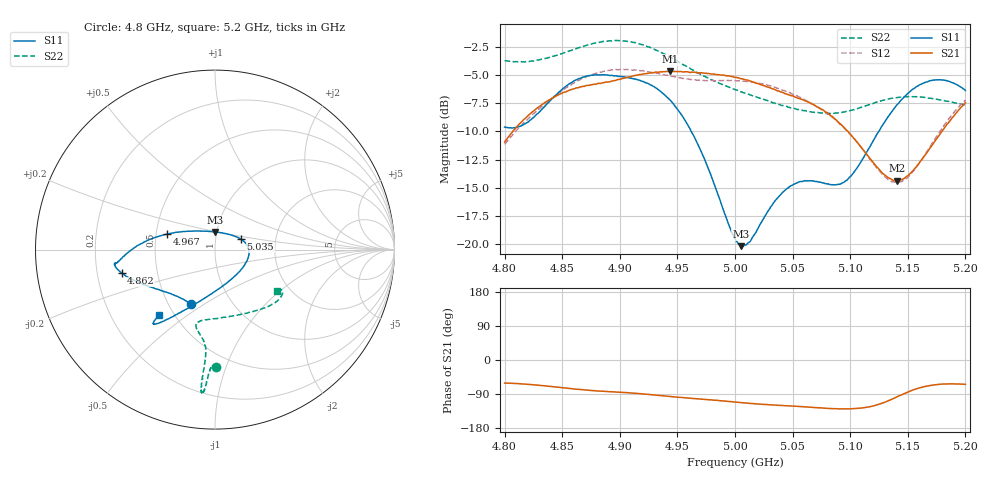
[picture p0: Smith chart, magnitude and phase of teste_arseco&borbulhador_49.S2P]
! Network Analyzer HP8722D
! Hewlett-Packard
! Data name: Linha & Wilkinson
! Saver's name: Rodrigo Anjos
! Comments: Teste da utilização de aquisição
! continua pelo VNA HP8722D
! Time and date: 15/4/2025 16:02
!  Frequency  S11  S21  S12  S22
# HZ  S  MA R 50
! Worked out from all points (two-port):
!   401 points, 4.8 GHz to 5.2 GHz, reference 50 ohm
!   highest |S21| = -4.63 dB at 4.944 GHz (marker M1); lowest = -14.4 dB at 5.141 GHz (marker M2)
!   |S21| within 3 dB of the highest: 4.832 GHz to 5.068 GHz (236.4 MHz wide, 4.78 % of centre); 5.198305 GHz to end of sweep
!   lowest |S11| = -20.2 dB at 5.005 GHz (marker M3), VSWR 1.22, Z = 49.2 + j9.69 ohm
!   |S11| at or under -10 dB: 4.962 GHz to 5.125 GHz (162.7 MHz wide, 3.23 % of centre)
!   |S22| runs from -8.4 to -1.9 dB; largest |S21 - S12| = 0.88
!   S11 on the Smith chart (normalised r, x): 4.8 GHz: 0.65, -0.44; 4.862 GHz: 0.31, -0.11; 4.967 GHz: 0.57, +0.11; 5.035 GHz: 1.33, +0.16; 5.2 GHz: 0.41, -0.39
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4.8e9  0.3309 -114.0  0.2841 -61.0  0.2771 -175.2  0.6536 -89.6
4.819e9  0.3456 -133.9  0.3665 -63.9  0.3542 -173.4  0.6492 -91.3
4.862e9  0.5369 -165.9  0.4946 -77.0  0.5274 -176.7  0.74 -93.6
4.867e9  0.5499 -167.9  0.5007 -78.5  0.5432 -177.5  0.7535 -93.8
4.9e9  0.5568 -172.4  0.5397 -85.0  0.5973 175.7  0.8026 -95.2
4.934e9  0.4833 -178.3  0.5812 -93.6  0.5731 171.9  0.719 -95.7
4.944e9  0.4349 177.1  0.5869 -96.4  0.5587 171.9  0.6764 -95.5
4.967e9  0.2824 162.2  0.5772 -102.5  0.535 173.9  0.5797 -95.2
5e9  0.1056 106.3  0.5511 -111.1  0.5329 176.1  0.4861 -99.3
5.005e9  0.09754 89.2  0.5432 -112.4  0.5315 176.3  0.4751 -100.5
5.014e9  0.1041 60.0  0.5298 -114.8  0.5267 176.2  0.4591 -102.7
5.035e9  0.1559 21.9  0.4847 -119.2  0.4972 175.0  0.422 -103.8
5.049e9  0.1815 7.2  0.4564 -121.4  0.4659 174.4  0.4022 -100.8
5.067e9  0.1908 -12.0  0.419 -125.0  0.421 174.0  0.3855 -91.7
5.086e9  0.183 -42.4  0.3623 -128.5  0.3603 173.7  0.3808 -77.4
5.097e9  0.1914 -65.5  0.3197 -129.2  0.319 174.4  0.3886 -68.4
5.134e9  0.3743 -116.5  0.1955 -106.4  0.192 -159.3  0.4427 -43.4
5.141e9  0.4175 -120.4  0.191 -96.7  0.1875 -148.4  0.4486 -40.3
5.152e9  0.4766 -124.8  0.2056 -81.9  0.2022 -131.1  0.452 -36.3
5.17e9  0.533 -128.9  0.2696 -66.9  0.2741 -113.1  0.4445 -32.1
5.184e9  0.5318 -130.1  0.3404 -63.3  0.3509 -107.2  0.4314 -31.2
5.2e9  0.4817 -130.6  0.4247 -64.2  0.4362 -106.2  0.4155 -33.5
